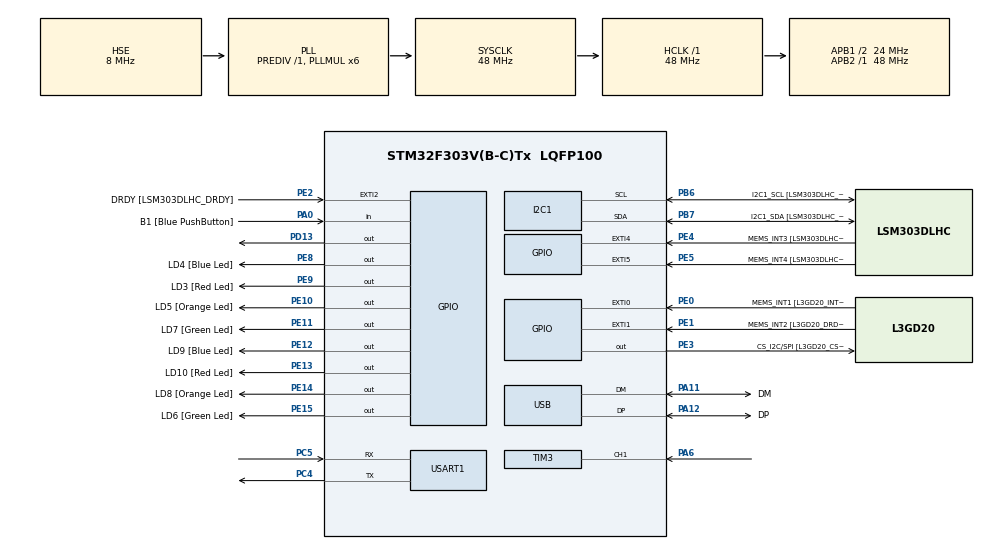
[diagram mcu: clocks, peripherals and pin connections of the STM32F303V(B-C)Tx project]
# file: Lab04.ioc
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I2C1.Timing=0x00201D2B
I2C1.Timing-I2C=0x2000090E
Mcu.Family=STM32F3
Mcu.Name=STM32F303V(B-C)Tx
Mcu.Package=LQFP100
NVIC.PriorityGroup=NVIC_PRIORITYGROUP_0
NVIC.TIM2_IRQn=true\:0\:0\:false\:false\:true\:true\:true\:true
NVIC.TIM3_IRQn=true\:0\:0\:false\:false\:true\:true\:true\:true
PA0.GPIO_Label=B1 [Blue PushButton]
PA0.Signal=GPIO_Input
PA11.GPIO_Label=DM
PA11.Mode=Device
PA11.Signal=USB_DM
PA12.GPIO_Label=DP
PA12.Mode=Device
PA12.Signal=USB_DP
PA13.GPIO_Label=SWDIO
PA13.Mode=Serial_Wire
PA13.Signal=SYS_JTMS-SWDIO
PA14.GPIO_Label=SWCLK
PA14.Mode=Serial_Wire
PA14.Signal=SYS_JTCK-SWCLK
PA5.GPIO_Label=SPI1_SCK [L3GD20_SCL/SPC]
PA5.Signal=SPI1_SCK
PA6.Signal=S_TIM3_CH1
PA7.GPIO_Label=SPI1_MISO [L3GD20_SDA/SDI/SDO]
PA7.Signal=SPI1_MOSI
PB3.GPIO_Label=SWO
PB3.Signal=SYS_JTDO-TRACESWO
PB6.GPIO_Label=I2C1_SCL [LSM303DLHC_SCL]
PB6.GPIO_Pu=GPIO_PULLUP
PB6.Mode=I2C
PB6.Signal=I2C1_SCL
PB7.GPIO_Label=I2C1_SDA [LSM303DLHC_SDA]
PB7.GPIO_Pu=GPIO_PULLUP
PB7.Mode=I2C
PB7.Signal=I2C1_SDA
PC14-OSC32_IN.GPIO_Label=OSC32_IN
PC14-OSC32_IN.Signal=RCC_OSC32_IN
PC15-OSC32_OUT.GPIO_Label=OSC32_OUT
PC15-OSC32_OUT.Signal=RCC_OSC32_OUT
PC4.Mode=Asynchronous
PC4.Signal=USART1_TX
PC5.Mode=Asynchronous
PC5.Signal=USART1_RX
PD13.Signal=GPIO_Output
PE0.GPIO_Label=MEMS_INT1 [L3GD20_INT1]
PE0.GPIO_ModeDefaultEXTI=GPIO_MODE_EVT_RISING
PE0.Signal=GPXTI0
PE1.GPIO_Label=MEMS_INT2 [L3GD20_DRDY/INT2]
PE1.GPIO_ModeDefaultEXTI=GPIO_MODE_EVT_RISING
PE1.Signal=GPXTI1
PE10.GPIO_Label=LD5 [Orange Led]
PE10.Signal=GPIO_Output
PE11.GPIO_Label=LD7 [Green Led]
PE11.Signal=GPIO_Output
PE12.GPIO_Label=LD9 [Blue Led]
PE12.Signal=GPIO_Output
PE13.GPIO_Label=LD10 [Red Led]
PE13.Signal=GPIO_Output
PE14.GPIO_Label=LD8 [Orange Led]
PE14.Signal=GPIO_Output
PE15.GPIO_Label=LD6 [Green Led]
PE15.Signal=GPIO_Output
PE2.GPIO_Label=DRDY [LSM303DLHC_DRDY]
PE2.GPIO_ModeDefaultEXTI=GPIO_MODE_EVT_RISING
PE2.Signal=GPXTI2
PE3.GPIO_Label=CS_I2C/SPI [L3GD20_CS_I2C/SPI]
PE3.Signal=GPIO_Output
PE4.GPIO_Label=MEMS_INT3 [LSM303DLHC_INT1]
PE4.GPIO_ModeDefaultEXTI=GPIO_MODE_EVT_RISING
PE4.Signal=GPXTI4
PE5.GPIO_Label=MEMS_INT4 [LSM303DLHC_INT2]
PE5.GPIO_ModeDefaultEXTI=GPIO_MODE_EVT_RISING
PE5.Signal=GPXTI5
PE8.GPIO_Label=LD4 [Blue Led]
PE8.Signal=GPIO_Output
PE9.GPIO_Label=LD3 [Red Led]
PE9.Signal=GPIO_Output
PF0-OSC_IN.GPIO_Label=OSC_IN
PF0-OSC_IN.Mode=HSE-External-Clock-Source
PF0-OSC_IN.Signal=RCC_OSC_IN
PF1-OSC_OUT.GPIO_Label=OSC_OUT
PF1-OSC_OUT.Signal=RCC_OSC_OUT
ProjectManager.HeapSize=0x200
ProjectManager.StackSize=0x400
ProjectManager.TargetToolchain=CMake
RCC.AHBFreq_Value=48000000
RCC.APB1CLKDivider=RCC_HCLK_DIV2
RCC.APB1Freq_Value=24000000
RCC.APB1TimFreq_Value=48000000
RCC.APB2Freq_Value=48000000
RCC.APB2TimFreq_Value=48000000
RCC.CortexFreq_Value=48000000
RCC.HCLKFreq_Value=48000000
RCC.HSE_VALUE=8000000
RCC.HSI_VALUE=8000000
RCC.LSE_VALUE=32768
RCC.PLLMUL=RCC_PLL_MUL6
RCC.SYSCLKFreq_VALUE=48000000
RCC.SYSCLKSourceVirtual=RCC_SYSCLKSOURCE_PLLCLK
RCC.USBFreq_Value=48000000
SH.S_TIM3_CH1.0=TIM3_CH1,Input_Capture1_from_TI1
TIM2.Period=999
TIM2.Prescaler=47
TIM3.Channel-Input_Capture1_from_TI1=TIM_CHANNEL_1
TIM3.Prescaler=71
USART1.VirtualMode-Asynchronous=VM_ASYNC
VP_TIM2_VS_ClockSourceINT.Mode=Internal
board=STM32F3DISCOVERY

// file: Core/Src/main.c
/* USER CODE BEGIN Header */
/**
  ******************************************************************************
  * @file           : main.c
  * @brief          : Main program body
  ******************************************************************************
  * @attention
  *
  * Copyright (c) 2026 STMicroelectronics.
  * All rights reserved.
  *
  * This software is licensed under terms that can be found in the LICENSE file
  * in the root directory of this software component.
  * If no LICENSE file comes with this software, it is provided AS-IS.
  *
  ******************************************************************************
  */
/* USER CODE END Header */
#include "main.h"

I2C_HandleTypeDef hi2c1;

TIM_HandleTypeDef htim2;
TIM_HandleTypeDef htim3;

UART_HandleTypeDef huart1;

PCD_HandleTypeDef hpcd_USB_FS;

/* USER CODE BEGIN PV */
// volatile uint32_t countA = 0;
// volatile uint32_t countB = 0;
// volatile uint32_t countC = 0;

/* USER CODE BEGIN PV */
#include <stdio.h>
#include <string.h>

#define TIM3_TICK_HZ 1000000UL

volatile uint32_t last_capture = 0;
volatile uint32_t period_ticks = 0;
volatile float frequency_hz = 0.0f;
/* USER CODE END PV */

void SystemClock_Config(void);
static void MX_GPIO_Init(void);
static void MX_I2C1_Init(void);
static void MX_TIM2_Init(void);
static void MX_USB_PCD_Init(void);
static void MX_TIM3_Init(void);
static void MX_USART1_UART_Init(void);

int main(void)
{

  /* MCU Configuration--------------------------------------------------------*/

  /* Reset of all peripherals, Initializes the Flash interface and the Systick. */
  HAL_Init();

  /* Configure the system clock */
  SystemClock_Config();

  /* Initialize all configured peripherals */
  MX_GPIO_Init();
  MX_I2C1_Init();
  MX_TIM2_Init();
  MX_USB_PCD_Init();
  MX_TIM3_Init();
  MX_USART1_UART_Init();
  /* USER CODE BEGIN 2 */
  // HAL_TIM_Base_Start(&htim2);

  // // delay function
  // #define TICKS_PER_MS 1
  // void delay_ms(uint32_t ms)
  // {
  //   __HAL_TIM_SET_COUNTER(&htim2, 0);
  //   uint32_t ticks = ms * TICKS_PER_MS;
  //   while (__HAL_TIM_GET_COUNTER(&htim2) < ticks)
  //   {
  //     continue;
  //   };
  // }

  // task2,3
  //HAL_TIM_Base_Start_IT (& htim2);

  //tASK 4
  // Enable TIM3 global interrupt in NVIC
  HAL_NVIC_SetPriority(TIM3_IRQn, 0, 0);
  HAL_NVIC_EnableIRQ(TIM3_IRQn);
  HAL_TIM_IC_Start_IT(&htim3, TIM_CHANNEL_1);

  /* USER CODE END 2 */

  /* Infinite loop */
  while (1)
  {

    /* USER CODE BEGIN 3 */

    // TASK 1
    // HAL_GPIO_TogglePin(GPIOE, GPIO_PIN_9);
    // delay_ms(1000);

    //TASK 4
    uint32_t p = period_ticks;
    uint32_t freq_scaled = (p > 0) ? ((1000000UL * 100UL) / p) : 0;
    uint32_t freq_int = freq_scaled / 100;
    uint32_t freq_frac = freq_scaled % 100;
    char msg[80];
    int len = snprintf(msg, sizeof(msg), "Period = %lu us, Frequency = %lu.%02lu Hz\r\n", p, freq_int, freq_frac);
    HAL_UART_Transmit(&huart1, (uint8_t *)msg, len, HAL_MAX_DELAY);
    HAL_Delay(270);
  }
  /* USER CODE END 3 */
}

void SystemClock_Config(void)
{
  RCC_OscInitTypeDef RCC_OscInitStruct = {0};
  RCC_ClkInitTypeDef RCC_ClkInitStruct = {0};
  RCC_PeriphCLKInitTypeDef PeriphClkInit = {0};

  /** Initializes the RCC Oscillators according to the specified parameters
  * in the RCC_OscInitTypeDef structure.
  */
  RCC_OscInitStruct.OscillatorType = RCC_OSCILLATORTYPE_HSI|RCC_OSCILLATORTYPE_HSE;
  RCC_OscInitStruct.HSEState = RCC_HSE_BYPASS;
  RCC_OscInitStruct.HSEPredivValue = RCC_HSE_PREDIV_DIV1;
  RCC_OscInitStruct.HSIState = RCC_HSI_ON;
  RCC_OscInitStruct.HSICalibrationValue = RCC_HSICALIBRATION_DEFAULT;
  RCC_OscInitStruct.PLL.PLLState = RCC_PLL_ON;
  RCC_OscInitStruct.PLL.PLLSource = RCC_PLLSOURCE_HSE;
  RCC_OscInitStruct.PLL.PLLMUL = RCC_PLL_MUL6;
  if (HAL_RCC_OscConfig(&RCC_OscInitStruct) != HAL_OK)
  {
    Error_Handler();
  }

  /** Initializes the CPU, AHB and APB buses clocks
  */
  RCC_ClkInitStruct.ClockType = RCC_CLOCKTYPE_HCLK|RCC_CLOCKTYPE_SYSCLK
                              |RCC_CLOCKTYPE_PCLK1|RCC_CLOCKTYPE_PCLK2;
  RCC_ClkInitStruct.SYSCLKSource = RCC_SYSCLKSOURCE_PLLCLK;
  RCC_ClkInitStruct.AHBCLKDivider = RCC_SYSCLK_DIV1;
  RCC_ClkInitStruct.APB1CLKDivider = RCC_HCLK_DIV2;
  RCC_ClkInitStruct.APB2CLKDivider = RCC_HCLK_DIV1;

  if (HAL_RCC_ClockConfig(&RCC_ClkInitStruct, FLASH_LATENCY_1) != HAL_OK)
  {
    Error_Handler();
  }
  PeriphClkInit.PeriphClockSelection = RCC_PERIPHCLK_USB|RCC_PERIPHCLK_USART1
                              |RCC_PERIPHCLK_I2C1;
  PeriphClkInit.Usart1ClockSelection = RCC_USART1CLKSOURCE_PCLK2;
  PeriphClkInit.I2c1ClockSelection = RCC_I2C1CLKSOURCE_HSI;
  PeriphClkInit.USBClockSelection = RCC_USBCLKSOURCE_PLL;
  if (HAL_RCCEx_PeriphCLKConfig(&PeriphClkInit) != HAL_OK)
  {
    Error_Handler();
  }
}

static void MX_I2C1_Init(void)
{

  hi2c1.Instance = I2C1;
  hi2c1.Init.Timing = 0x00201D2B;
  hi2c1.Init.OwnAddress1 = 0;
  hi2c1.Init.AddressingMode = I2C_ADDRESSINGMODE_7BIT;
  hi2c1.Init.DualAddressMode = I2C_DUALADDRESS_DISABLE;
  hi2c1.Init.OwnAddress2 = 0;
  hi2c1.Init.OwnAddress2Masks = I2C_OA2_NOMASK;
  hi2c1.Init.GeneralCallMode = I2C_GENERALCALL_DISABLE;
  hi2c1.Init.NoStretchMode = I2C_NOSTRETCH_DISABLE;
  if (HAL_I2C_Init(&hi2c1) != HAL_OK)
  {
    Error_Handler();
  }

  /** Configure Analogue filter
  */
  if (HAL_I2CEx_ConfigAnalogFilter(&hi2c1, I2C_ANALOGFILTER_ENABLE) != HAL_OK)
  {
    Error_Handler();
  }

  /** Configure Digital filter
  */
  if (HAL_I2CEx_ConfigDigitalFilter(&hi2c1, 0) != HAL_OK)
  {
    Error_Handler();
  }

}

static void MX_TIM2_Init(void)
{

  TIM_ClockConfigTypeDef sClockSourceConfig = {0};
  TIM_MasterConfigTypeDef sMasterConfig = {0};

  htim2.Instance = TIM2;
  htim2.Init.Prescaler = 47;
  htim2.Init.CounterMode = TIM_COUNTERMODE_UP;
  htim2.Init.Period = 999;
  htim2.Init.ClockDivision = TIM_CLOCKDIVISION_DIV1;
  htim2.Init.AutoReloadPreload = TIM_AUTORELOAD_PRELOAD_DISABLE;
  if (HAL_TIM_Base_Init(&htim2) != HAL_OK)
  {
    Error_Handler();
  }
  sClockSourceConfig.ClockSource = TIM_CLOCKSOURCE_INTERNAL;
  if (HAL_TIM_ConfigClockSource(&htim2, &sClockSourceConfig) != HAL_OK)
  {
    Error_Handler();
  }
  sMasterConfig.MasterOutputTrigger = TIM_TRGO_RESET;
  sMasterConfig.MasterSlaveMode = TIM_MASTERSLAVEMODE_DISABLE;
  if (HAL_TIMEx_MasterConfigSynchronization(&htim2, &sMasterConfig) != HAL_OK)
  {
    Error_Handler();
  }

}

static void MX_TIM3_Init(void)
{

  TIM_MasterConfigTypeDef sMasterConfig = {0};
  TIM_IC_InitTypeDef sConfigIC = {0};

  htim3.Instance = TIM3;
  htim3.Init.Prescaler = 47;
  htim3.Init.CounterMode = TIM_COUNTERMODE_UP;
  htim3.Init.Period = 65535;
  htim3.Init.ClockDivision = TIM_CLOCKDIVISION_DIV1;
  htim3.Init.AutoReloadPreload = TIM_AUTORELOAD_PRELOAD_DISABLE;
  if (HAL_TIM_IC_Init(&htim3) != HAL_OK)
  {
    Error_Handler();
  }
  sMasterConfig.MasterOutputTrigger = TIM_TRGO_RESET;
  sMasterConfig.MasterSlaveMode = TIM_MASTERSLAVEMODE_DISABLE;
  if (HAL_TIMEx_MasterConfigSynchronization(&htim3, &sMasterConfig) != HAL_OK)
  {
    Error_Handler();
  }
  sConfigIC.ICPolarity = TIM_INPUTCHANNELPOLARITY_RISING;
  sConfigIC.ICSelection = TIM_ICSELECTION_DIRECTTI;
  sConfigIC.ICPrescaler = TIM_ICPSC_DIV1;
  sConfigIC.ICFilter = 0;
  if (HAL_TIM_IC_ConfigChannel(&htim3, &sConfigIC, TIM_CHANNEL_1) != HAL_OK)
  {
    Error_Handler();
  }

}

static void MX_USART1_UART_Init(void)
{

  huart1.Instance = USART1;
  huart1.Init.BaudRate = 115200;
  huart1.Init.WordLength = UART_WORDLENGTH_8B;
  huart1.Init.StopBits = UART_STOPBITS_1;
  huart1.Init.Parity = UART_PARITY_NONE;
  huart1.Init.Mode = UART_MODE_TX_RX;
  huart1.Init.HwFlowCtl = UART_HWCONTROL_NONE;
  huart1.Init.OverSampling = UART_OVERSAMPLING_16;
  huart1.Init.OneBitSampling = UART_ONE_BIT_SAMPLE_DISABLE;
  huart1.AdvancedInit.AdvFeatureInit = UART_ADVFEATURE_NO_INIT;
  if (HAL_UART_Init(&huart1) != HAL_OK)
  {
    Error_Handler();
  }

}

static void MX_USB_PCD_Init(void)
{

  hpcd_USB_FS.Instance = USB;
  hpcd_USB_FS.Init.dev_endpoints = 8;
  hpcd_USB_FS.Init.speed = PCD_SPEED_FULL;
  hpcd_USB_FS.Init.phy_itface = PCD_PHY_EMBEDDED;
  hpcd_USB_FS.Init.low_power_enable = DISABLE;
  hpcd_USB_FS.Init.battery_charging_enable = DISABLE;
  if (HAL_PCD_Init(&hpcd_USB_FS) != HAL_OK)
  {
    Error_Handler();
  }

}

static void MX_GPIO_Init(void)
{
  GPIO_InitTypeDef GPIO_InitStruct = {0};

  /* GPIO Ports Clock Enable */
  __HAL_RCC_GPIOE_CLK_ENABLE();
  __HAL_RCC_GPIOC_CLK_ENABLE();
  __HAL_RCC_GPIOF_CLK_ENABLE();
  __HAL_RCC_GPIOA_CLK_ENABLE();
  __HAL_RCC_GPIOD_CLK_ENABLE();
  __HAL_RCC_GPIOB_CLK_ENABLE();

  /*Configure GPIO pin Output Level */
  HAL_GPIO_WritePin(GPIOE, CS_I2C_SPI_Pin|LD4_Pin|LD3_Pin|LD5_Pin
                          |LD7_Pin|LD9_Pin|LD10_Pin|LD8_Pin
                          |LD6_Pin, GPIO_PIN_RESET);

  /*Configure GPIO pin Output Level */
  HAL_GPIO_WritePin(GPIOD, GPIO_PIN_13, GPIO_PIN_RESET);

  /*Configure GPIO pins : DRDY_Pin MEMS_INT3_Pin MEMS_INT4_Pin MEMS_INT1_Pin
                           MEMS_INT2_Pin */
  GPIO_InitStruct.Pin = DRDY_Pin|MEMS_INT3_Pin|MEMS_INT4_Pin|MEMS_INT1_Pin
                          |MEMS_INT2_Pin;
  GPIO_InitStruct.Mode = GPIO_MODE_EVT_RISING;
  GPIO_InitStruct.Pull = GPIO_NOPULL;
  HAL_GPIO_Init(GPIOE, &GPIO_InitStruct);

  /*Configure GPIO pins : CS_I2C_SPI_Pin LD4_Pin LD3_Pin LD5_Pin
                           LD7_Pin LD9_Pin LD10_Pin LD8_Pin
                           LD6_Pin */
  GPIO_InitStruct.Pin = CS_I2C_SPI_Pin|LD4_Pin|LD3_Pin|LD5_Pin
                          |LD7_Pin|LD9_Pin|LD10_Pin|LD8_Pin
                          |LD6_Pin;
  GPIO_InitStruct.Mode = GPIO_MODE_OUTPUT_PP;
  GPIO_InitStruct.Pull = GPIO_NOPULL;
  GPIO_InitStruct.Speed = GPIO_SPEED_FREQ_LOW;
  HAL_GPIO_Init(GPIOE, &GPIO_InitStruct);

  /*Configure GPIO pin : B1_Pin */
  GPIO_InitStruct.Pin = B1_Pin;
  GPIO_InitStruct.Mode = GPIO_MODE_INPUT;
  GPIO_InitStruct.Pull = GPIO_NOPULL;
  HAL_GPIO_Init(B1_GPIO_Port, &GPIO_InitStruct);

  /*Configure GPIO pins : SPI1_SCK_Pin SPI1_MISO_Pin */
  GPIO_InitStruct.Pin = SPI1_SCK_Pin|SPI1_MISO_Pin;
  GPIO_InitStruct.Mode = GPIO_MODE_AF_PP;
  GPIO_InitStruct.Pull = GPIO_NOPULL;
  GPIO_InitStruct.Speed = GPIO_SPEED_FREQ_HIGH;
  GPIO_InitStruct.Alternate = GPIO_AF5_SPI1;
  HAL_GPIO_Init(GPIOA, &GPIO_InitStruct);

  /*Configure GPIO pin : PD13 */
  GPIO_InitStruct.Pin = GPIO_PIN_13;
  GPIO_InitStruct.Mode = GPIO_MODE_OUTPUT_PP;
  GPIO_InitStruct.Pull = GPIO_NOPULL;
  GPIO_InitStruct.Speed = GPIO_SPEED_FREQ_LOW;
  HAL_GPIO_Init(GPIOD, &GPIO_InitStruct);

  /* USER CODE BEGIN MX_GPIO_Init_2 */

  // 1. Ensure Port A clock is active
  __HAL_RCC_GPIOA_CLK_ENABLE();

  // 2. Route PA6 to TIM3 Channel 1
  GPIO_InitStruct.Pin = GPIO_PIN_6;
  GPIO_InitStruct.Mode = GPIO_MODE_AF_PP;
  GPIO_InitStruct.Pull = GPIO_NOPULL;
  GPIO_InitStruct.Speed = GPIO_SPEED_FREQ_HIGH;
  GPIO_InitStruct.Alternate = GPIO_AF2_TIM3;
  HAL_GPIO_Init(GPIOA, &GPIO_InitStruct);

  /* USER CODE END MX_GPIO_Init_2 */
}

/* USER CODE BEGIN 4 */

//task2

// void HAL_TIM_PeriodElapsedCallback ( TIM_HandleTypeDef *htim)
// {
//   if (htim -> Instance == TIM2)
//   {
//     HAL_GPIO_TogglePin (GPIOE, GPIO_PIN_9);
//   }
// }

//task  3
// void HAL_TIM_PeriodElapsedCallback(TIM_HandleTypeDef *htim)
// {
//     if (htim->Instance == TIM2)
//     {
//         countA++;
//         countB++;
//         countC++;

//         if (countA >= 500)
//         {
//             HAL_GPIO_TogglePin(GPIOE, GPIO_PIN_9); // LD3 Red
//             countA = 0;
//         }

//         if (countB >= 200)
//         {
//             HAL_GPIO_TogglePin(GPIOE, GPIO_PIN_8); //LD4 Blue
//             countB = 0;
//         }

//         if (countC >= 100)
//         {
//             HAL_GPIO_TogglePin(GPIOE, GPIO_PIN_10); // LD5 Orange
//             countC = 0;
//         }
//     }
// }

//task 4
void HAL_TIM_IC_CaptureCallback(TIM_HandleTypeDef *htim)
{
  if (htim->Instance == TIM3 && htim->Channel == HAL_TIM_ACTIVE_CHANNEL_1)
  {
    uint32_t current_capture = HAL_TIM_ReadCapturedValue(htim, TIM_CHANNEL_1);

    if (current_capture >= last_capture)
    {
      period_ticks = current_capture - last_capture;
    }
    else
    {
      period_ticks = (htim->Instance->ARR + 1U - last_capture) + current_capture;
    }

    last_capture = current_capture;

    if (period_ticks != 0)
    {
      frequency_hz = (float)TIM3_TICK_HZ / (float)period_ticks;
    }
  }
}

/* USER CODE END 4 */

void Error_Handler(void)
{
  __disable_irq();
  while (1)
  {
  }
}
